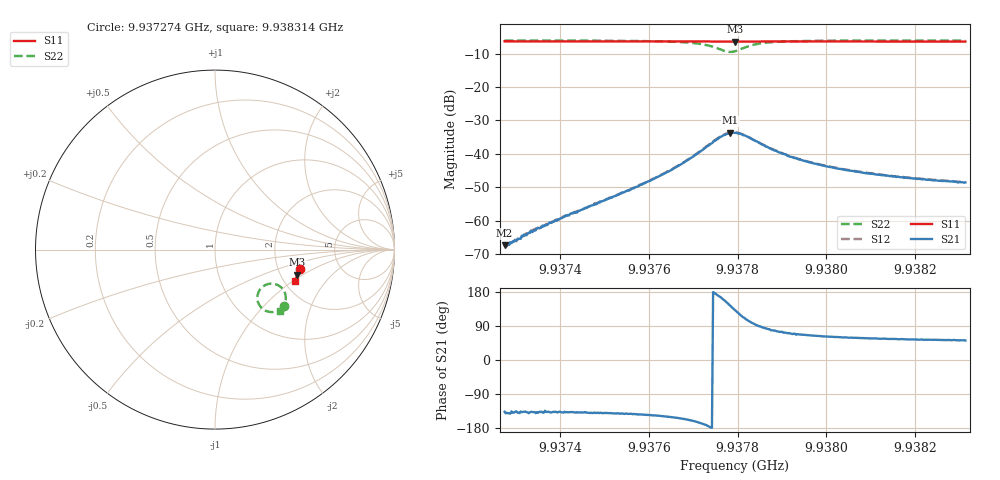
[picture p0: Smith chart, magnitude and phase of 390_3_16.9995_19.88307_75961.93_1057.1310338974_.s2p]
#  HZ  S  RI  R  50.00
! Rohde & Schwarz Vector Network Analyzer
! Rohde-Schwarz,ZNB20-2Port,1311601062101988,3.16
! Created: UTC 3/20/2024, 11:09:37 PM
! freq[Hz]  re:S11  im:S11  re:S21  im:S21  re:S12  im:S12  re:S22  im:S22
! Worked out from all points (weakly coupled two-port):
!   401 points, 9.937274 GHz to 9.938314 GHz, reference 50 ohm
!   highest |S21| = -33.69 dB at 9.937784 GHz (marker M1); lowest = -67.5 dB at 9.937274 GHz (marker M2)
!   lowest |S11| = -6.4 dB at 9.937794 GHz (marker M3), VSWR 2.84, Z = 123 - j44.5 ohm
!   |S11| at or under -10 dB: nowhere
!   |S22| runs from -9.5 to -6.1 dB; largest |S21 - S12| = 0.00081
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9.9372743e9  0.4717 -0.1067  -0.000308 -0.000291  -0.000345 -0.000256  0.3857 -0.315
9.9372795e9  0.4716 -0.1069  -0.000335 -0.000289  -0.000305 -0.000278  0.3853 -0.3154
9.9372899e9  0.4713 -0.1079  -0.000326 -0.000321  -0.000362 -0.000308  0.3847 -0.3162
9.9373055e9  0.4711 -0.1088  -0.000396 -0.000347  -0.000416 -0.000391  0.3834 -0.3172
9.9373393e9  0.4705 -0.1111  -0.000514 -0.000471  -0.000549 -0.000483  0.3809 -0.3196
9.9374121e9  0.469 -0.1159  -0.000888 -0.000794  -0.000908 -0.000752  0.3744 -0.3251
9.9374485e9  0.468 -0.1181  -0.00109 -0.000957  -0.00112 -0.00097  0.3706 -0.3283
9.9375499e9  0.4658 -0.1251  -0.00217 -0.00172  -0.00223 -0.00168  0.3564 -0.3374
9.9376227e9  0.4641 -0.1301  -0.00387 -0.0025  -0.00398 -0.00248  0.3382 -0.3447
9.9376773e9  0.4623 -0.1337  -0.00664 -0.00303  -0.00675 -0.00297  0.313 -0.3481
9.9377267e9  0.4607 -0.137  -0.012 -0.00195  -0.0123 -0.00173  0.2697 -0.3336
9.9377631e9  0.4592 -0.1387  -0.0174 0.0048  -0.0177 0.00544  0.2361 -0.2737
9.9377839e9  0.4585 -0.1391  -0.0165 0.0124  -0.0163 0.0129  0.2549 -0.2173
9.9377943e9  0.4583 -0.1394  -0.0136 0.0154  -0.0135 0.0161  0.2803 -0.1976
9.9378203e9  0.459 -0.1405  -0.00518 0.0175  -0.00472 0.0177  0.3475 -0.1964
9.9378515e9  0.4588 -0.1429  0.000356 0.0142  0.000824 0.0143  0.3855 -0.2319
9.9378697e9  0.4587 -0.1443  0.00185 0.0123  0.00223 0.0122  0.3922 -0.2499
9.9379165e9  0.4578 -0.1475  0.00299 0.00871  0.00325 0.00869  0.3941 -0.2812
9.9379685e9  0.4563 -0.1512  0.00311 0.00658  0.00329 0.0066  0.3889 -0.2999
9.9380492e9  0.4544 -0.1566  0.00292 0.00486  0.00301 0.00485  0.3807 -0.3169
9.9381428e9  0.452 -0.1626  0.0026 0.00382  0.00273 0.00383  0.3722 -0.3289
9.9383144e9  0.447 -0.1736  0.00231 0.00291  0.00238 0.00289  0.3595 -0.3431
